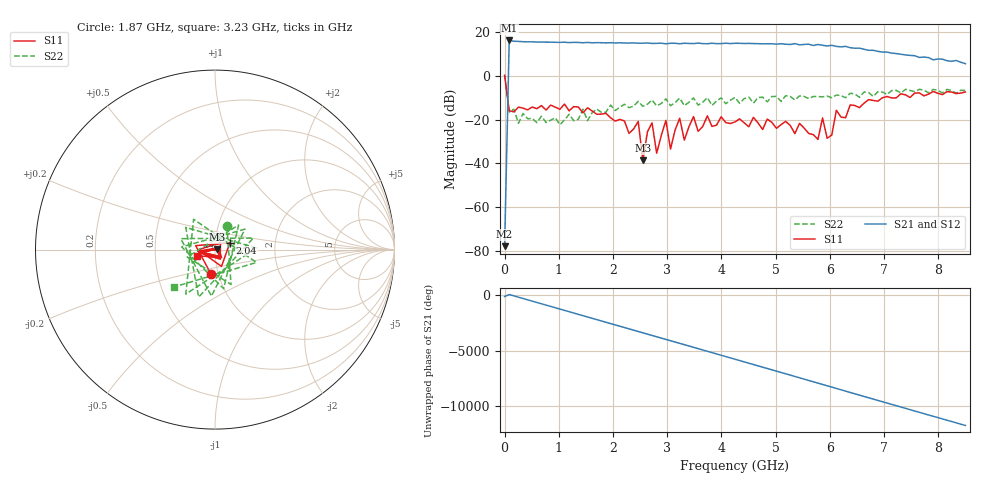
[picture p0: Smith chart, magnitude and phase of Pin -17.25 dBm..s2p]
! RsaToolbox (C) 2013 Rohde & Schwarz America
! Number of points: 101
! Number of ports: 2
! Balanced ports?: 0
# Hz S RI R 50
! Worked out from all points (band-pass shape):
!   101 points, 9 kHz to 8.5 GHz, reference 50 ohm
!   highest |S21| = 16.10 dB at 85.01 MHz (marker M1); lowest = -77.8 dB at 9 kHz (marker M2)
!   |S21| within 3 dB of the highest: 82.29 MHz to 6.332 GHz (6.249 GHz wide, 195 % of centre)
!   lowest |S11| = -38.7 dB at 2.55 GHz (marker M3), VSWR 1.02, Z = 51.2 + j0.201 ohm
!   |S11| at or under -10 dB: 53.71 MHz to 6.978 GHz (6.925 GHz wide, 197 % of centre); 7.122 GHz to 7.23 GHz (108.1 MHz wide, 1.51 % of centre)
!   |S22| runs from -22.4 to 0.2 dB; largest |S21 - S12| = 0
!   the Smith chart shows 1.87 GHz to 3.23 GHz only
!   S11 on the Smith chart (normalised r, x): 1.87 GHz: 0.92, -0.26; 2.04 GHz: 1.18, +0.09; 3.23 GHz: 0.81, -0.06
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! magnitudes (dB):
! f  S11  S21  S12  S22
! 9 kHz  0.2  -77.8  -77.8  0.2
! 85.01 MHz  -16.0  16.1  16.1  -16.6
! 1.02 GHz  -15.3  15.2  15.2  -22.4
! 1.445 GHz  -16.9  15.1  15.1  -15.3
! 1.87 GHz  -17.2  15.0  15.0  -16.6
! 2.04 GHz  -20.7  15.0  15.0  -15.9
! 2.465 GHz  -20.9  14.8  14.8  -11.7
! 2.55 GHz  -38.7  14.9  14.9  -14.0
! 2.72 GHz  -21.5  14.7  14.7  -11.1
! 2.805 GHz  -35.4  14.8  14.8  -13.8
! 2.89 GHz  -27.3  14.9  14.9  -12.7
! 2.975 GHz  -20.4  14.6  14.6  -10.6
! 3.06 GHz  -33.5  14.8  14.8  -13.7
! 3.23 GHz  -19.4  14.6  14.6  -10.2
! 3.315 GHz  -29.4  14.8  14.8  -13.7
! 3.485 GHz  -18.7  14.7  14.7  -10.2
! 3.57 GHz  -25.4  14.9  14.9  -13.4
! 4.25 GHz  -21.1  14.8  14.8  -9.9
! 5.695 GHz  -26.9  13.8  13.8  -9.5
! 6.12 GHz  -15.8  13.4  13.4  -8.8
! 7.14 GHz  -10.1  10.3  10.3  -6.8
! 8.5 GHz  -7.4  5.5  5.5  -6.7
